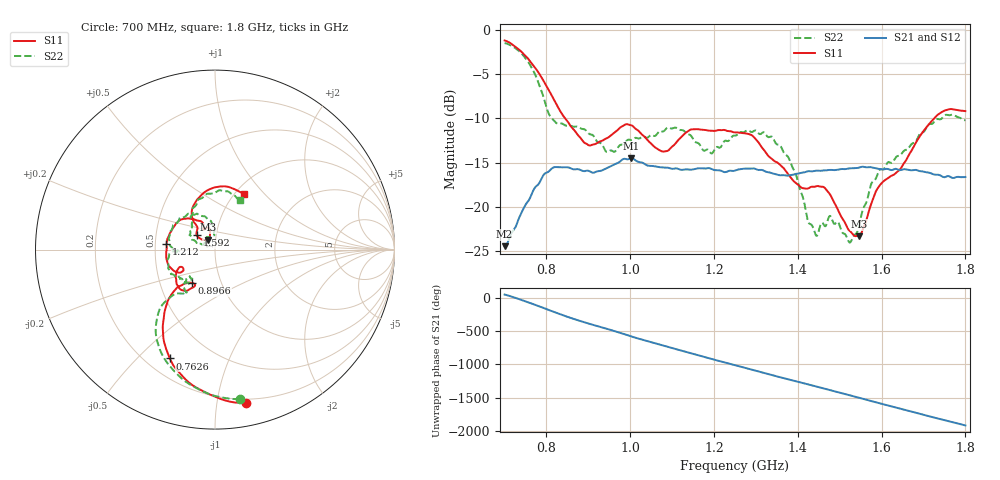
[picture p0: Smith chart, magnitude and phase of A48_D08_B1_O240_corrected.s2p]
! Created with skrf 1.9.0 (http://scikit-rf.org).
# Hz S RI R 50.0
!freq ReS11 ImS11 ReS21 ImS21 ReS12 ImS12 ReS22 ImS22
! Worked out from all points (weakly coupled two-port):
!   1601 points, 700 MHz to 1.8 GHz, reference 50 ohm
!   highest |S21| = -14.51 dB at 1.002 GHz (marker M1); lowest = -24.4 dB at 700 MHz (marker M2)
!   lowest |S11| = -23.3 dB at 1.546 GHz (marker M3), VSWR 1.15, Z = 46 + j5.16 ohm
!   |S11| at or under -10 dB: 844.8 MHz to 1.725 GHz (880.2 MHz wide, 68.5 % of centre)
!   |S22| runs from -24.0 to -1.5 dB; largest |S21 - S12| = 0.0036
!   S11 on the Smith chart (normalised r, x): 700 MHz: 0.17, -1.21; 762.6 MHz: 0.29, -0.63; 896.6 MHz: 0.73, -0.29; 1.212 GHz: 0.57, +0.04; 1.592 GHz: 0.81, +0.13; 1.8 GHz: 1.11, +0.77
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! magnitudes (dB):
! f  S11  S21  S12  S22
! 700 MHz  -1.2  -24.4  -24.2  -1.5
! 762.6 MHz  -3.7  -18.8  -18.8  -4.1
! 812.8 MHz  -7.4  -15.7  -15.6  -10.0
! 883.6 MHz  -12.4  -15.9  -15.8  -11.2
! 896.6 MHz  -12.9  -15.9  -16.0  -11.5
! 944.8 MHz  -12.2  -15.6  -15.6  -13.8
! 1.002 GHz  -10.8  -14.5  -14.6  -12.4
! 1.067 GHz  -13.5  -15.5  -15.4  -11.6
! 1.145 GHz  -11.2  -15.8  -15.8  -11.9
! 1.212 GHz  -11.3  -15.9  -15.9  -13.3
! 1.25 GHz  -11.6  -15.9  -15.8  -11.9
! 1.358 GHz  -15.3  -16.4  -16.4  -13.1
! 1.394 GHz  -17.2  -16.3  -16.3  -16.1
! 1.434 GHz  -17.7  -16.0  -15.9  -22.1
! 1.445 GHz  -17.7  -15.9  -15.9  -23.3
! 1.478 GHz  -18.6  -15.8  -15.8  -21.0
! 1.524 GHz  -22.7  -15.6  -15.6  -24.0
! 1.546 GHz  -23.3  -15.6  -15.5  -22.2
! 1.592 GHz  -17.8  -15.7  -15.7  -16.0
! 1.617 GHz  -16.7  -15.8  -15.7  -14.9
! 1.733 GHz  -9.6  -16.4  -16.4  -10.1
! 1.8 GHz  -9.2  -16.6  -16.6  -10.2
